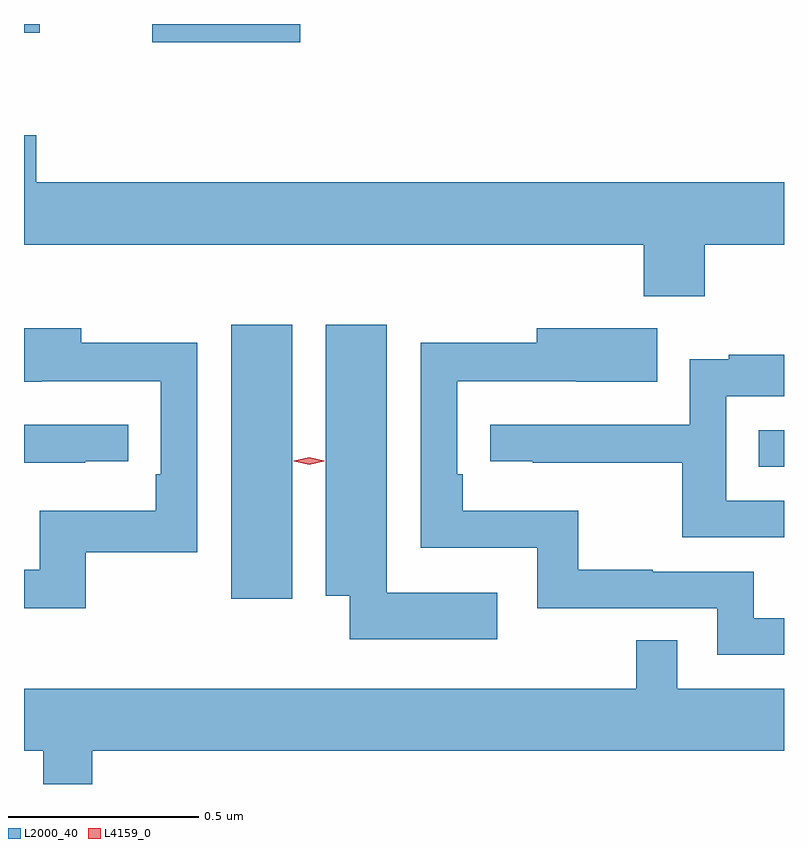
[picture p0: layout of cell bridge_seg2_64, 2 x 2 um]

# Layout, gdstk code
import gdstk
lib = gdstk.Library(unit=1e-6, precision=1e-09)
def R(c, l, rs):  # rectangles x0, y0, x1, y1
    for r in rs: c.add(gdstk.rectangle(r[:2], r[2:], *l))
def P(c, l, *ps):  # polygons
    for p in ps: c.add(gdstk.Polygon(p, *l))
L2000_40 = (2000, 40)
L4159_0 = (4159, 0)

bridge_seg2_64 = lib.new_cell('bridge_seg2_64')
R(bridge_seg2_64, L2000_40, [(988.505,610.74,988.666,611.461), (989.893,611.088,989.96,611.184), (988.298,612.205,988.687,612.253), (987.96,612.23,988.002,612.253)])
P(bridge_seg2_64, L2000_40, [(989.751,611.672),(989.96,611.672),(989.96,611.836),(987.992,611.836),(987.992,611.96),(987.96,611.96),(987.96,611.672),(989.591,611.672),(989.591,611.537),(989.751,611.537)],
  [(989.206,610.756),(988.915,610.756),(988.915,611.461),(988.754,611.461),(988.754,610.748),(988.817,610.748),(988.817,610.634),(989.206,610.634)],
  [(988.123,610.863),(988.416,610.863),(988.416,611.414),(988.111,611.414),(988.111,611.452),(987.96,611.452),(987.96,611.312),(988.007,611.312),(988.007,611.313),(988.32,611.313),(988.32,611.068),(988.307,611.068),(988.307,610.972),(988.002,610.972),(988.002,610.817),(987.96,610.817),(987.96,610.716),(988.123,610.716)],
  [(989.96,610.689),(989.88,610.689),(989.88,610.812),(989.615,610.812),(989.615,610.817),(989.419,610.817),(989.419,610.972),(989.114,610.972),(989.114,611.068),(989.1,611.068),(989.1,611.313),(989.413,611.313),(989.413,611.312),(989.627,611.312),(989.627,611.452),(989.309,611.452),(989.309,611.414),(989.004,611.414),(989.004,610.875),(989.31,610.875),(989.31,610.716),(989.784,610.716),(989.784,610.593),(989.96,610.593)],
  [(989.96,610.998),(989.808,610.998),(989.808,611.274),(989.96,611.274),(989.96,611.383),(989.815,611.383),(989.815,611.371),(989.712,611.371),(989.712,611.199),(989.187,611.199),(989.187,611.103),(989.299,611.103),(989.299,611.098),(989.692,611.098),(989.692,610.902),(989.96,610.902)],
  [(988.121,611.103),(988.234,611.103),(988.234,611.199),(987.96,611.199),(987.96,611.098),(988.121,611.098)],
  [(988.139,610.34),(989.96,610.34),(989.96,610.504),(989.679,610.504),(989.679,610.631),(989.571,610.631),(989.571,610.504),(987.96,610.504),(987.96,610.34),(988.011,610.34),(988.011,610.253),(988.139,610.253)])
P(bridge_seg2_64, L4159_0, [(988.71,611.093),(988.67,611.103),(988.67,611.103),(988.67,611.104),(988.71,611.113),(988.75,611.104),(988.75,611.104),(988.75,611.103)])

lib.write_gds('bridge_seg2_64.gds')
